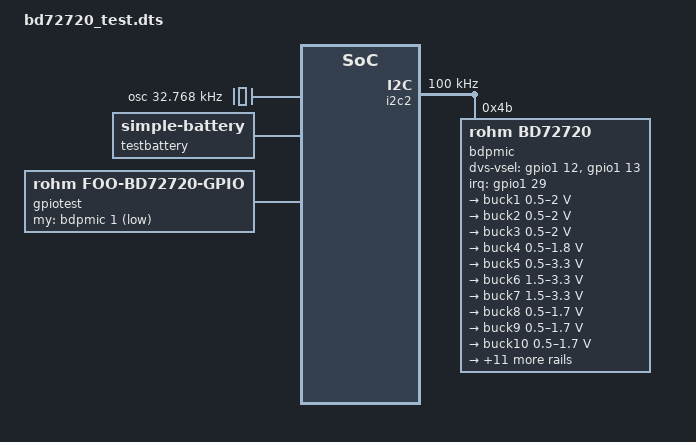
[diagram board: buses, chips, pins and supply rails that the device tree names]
/dts-v1/;
/plugin/;

/{ /* this is our device tree overlay root node */

	compatible = "ti,beaglebone", "ti,beaglebone-black";
	part-number = "BBB-I2C1"; // you can choose any name here but it should be memorable
 	version = "00A0";

	fragment@1 {
		target-path = "/";
		__overlay__ {
			/* external oscillator */
			osc: oscillator {
				compatible = "fixed-clock";
				#clock-cells = <1>;
				clock-frequency  = <32768>;
				clock-output-names = "osc";
			};

			testbattery: battery {
				compatible = "simple-battery";
				/* I just pulled these values from my hat :) */
				ocv-capacity-celsius = <25>;
				ocv-capacity-table-0 = <4200000 100
							4184314 100
							4140723 95
							4099487 90
							4060656 85
							4024350 80
							3991121 75
							3954379 70
							3913265 65
							3877821 60
							3855577 55
							3837466 50
							3822194 45
							3809012 40
							3795984 35
							3780647 30
							3760505 25
							3741532 20
							3718837 15
							3696698 10
							3690594 5
							3581427 0
							3110433 (-5)>;

				rohm,volt-drop-soc = <1000 1000 950 900 850
					800 750 700 650 600 550 500 450 400 350
					300 250 200 150 100 50 00 (-50)>;

				rohm,volt-drop-high-temp-microvolt =  <100 100
					102 104 106 109 114 124 117 107 107 109
					112 116 117 108 109 109 108 109 122 126
					130>;

				rohm,volt-drop-normal-temp-microvolt = <100 100
					102 105 98 100 105 102 101 99 98 100
					103 105 109 117 111 109 110 114 128 141
					154>;

				rohm,volt-drop-low-temp-microvolt = <100 100 98
					107 112 114 118 118 112 108 108 110 111
					113 117 123 131 144 157 181 220 283
					399>;

				rohm,volt-drop-very-low-temp-microvolt = <86 86
					105 109 114 110 115 115 110 108 110 112
					114 118 124 134 136 160 177 201 241 322
					403>;

				/* charge-full-design-microamp-hours = <3000000>; */
				charge-full-design-microamp-hours = <1799000>;
				voltage-max-design-microvolt = <4200000>;
				voltage-min-design-microvolt = <3500000>;
				rohm,voltage-vdr-thresh-microvolt = <4150000>;
				degrade-cycle-microamp-hours = <131>;
				/*
				degrade-cycle-microamp-hours <2>;
				temp-degrade-table = <
				*/
			};
		};
	};

	fragment@2 {
		target = <&i2c2>;

		__overlay__ {
			pinctrl-0 = <&i2c2_pins>;
			clock-frequency = <100000>;
			status = "okay";


			bdpmic: bd72720@4b {
				compatible = "rohm,bd72720";
				reg = <0x4b>;
				interrupt-parent = <&gpio1>;
//				/* GPIO 1_29 - (connector 8, pin 26) for irq */
/*				interrupts = <29 GPIO_ACTIVE_LOW>; */
				interrupts = <29 8>;
				clocks = <&osc 0>;
				#clock-cells = <0>;
				clock-output-names = "bd72720-32k-out";
				rohm,clkout-open-drain = <0>;
				#gpio-cells = <2>;
				gpio-controller;
				/* With default OTP the GPIO 1 is used for DVS0
				   input (not usable as GPO) and GPIO 3 is used
				   for DVS1 input. GPIO 2 can be used for GPO
				   and is by default connected to EPDEN. Let's
				   exclude GPIO 1 and 3 from use */
/*				ngpios = <4>; */
				rohm,pin-exten0 = "gpo";
				rohm,pin-dvs0 = "gpi";

/*				gpio-reserved-ranges = <0 1>, <2 1>; */
				rohm,dvs-vsel-gpios = <&gpio1 12 0>,
						      <&gpio1 13 0>;
				/* 30 milli Ohm RSENS resistor */ 
				rohm,charger-sense-resistor-milli-ohms = <30>;
				monitored-battery = <&testbattery>;

				regulators {
					buck1 {
						regulator-name = "buck1";

/*
 * Vol regs:
 * Deep Idle	0x22
 * IDLE		0x23
 * SUSP		0x24
 * RUN		0x25
 * RUN0 .. RUN3	0x36 .. 0x29
 *
 * vals:
 * 0x0 .. 0xc0 500mV + (sel * 6.25 mV)
 * 0xc1 .. 0xff 1.7 V
 */


						regulator-min-microvolt = <500000>;
						regulator-max-microvolt = <2000000>;
						/* Ramp reg 0x21, bit[7:6] val 0x2 */
						regulator-ramp-delay = <10000>;
						rohm,dvs-run-voltage = <500000>;
						rohm,dvs-idle-voltage = <506250>;
						/* Try disable at susp. reg 0x20, bit [2] cleared */
						rohm,dvs-suspend-voltage = <0>;
						rohm,dvs-lpsr-voltage = <1700000>;
						regulator-boot-on;
					};
					buck2 {
						/* vreg 0x2c ... 0x2f. RUN 0x2f, no sub run */
						regulator-name = "buck2";
						regulator-min-microvolt = <500000>;
						regulator-max-microvolt = <2000000>;
						/* Ramp reg 0x2b, bit[7:6] val 0x2 */
						regulator-ramp-delay = <10000>;
						rohm,dvs-run-voltage = <500000>;
						rohm,dvs-idle-voltage = <506250>;
						rohm,dvs-suspend-voltage = <1700000>;
						/* EN reg 0x2a, lpsr bit[0] */
						rohm,dvs-lpsr-voltage = <0>;
						regulator-boot-on;
					};
					buck3 {
						/* vreg 0x32 ... 0x35. RUN 0x35, no sub run */
						regulator-name = "buck3";
						regulator-min-microvolt = <500000>;
						regulator-max-microvolt = <2000000>;

						rohm,dvs-run-voltage = <1700000>;
						/* 0x30, bit [1] */
						rohm,dvs-idle-voltage = <0>;
						rohm,dvs-suspend-voltage = <512500>;
						rohm,dvs-lpsr-voltage = <518750>;
						regulator-boot-on;
					};
					buck4 {
						regulator-name = "buck4";
						regulator-min-microvolt = <500000>;
						regulator-max-microvolt = <1800000>;

						/* 0x3b */
						rohm,dvs-run-voltage = <500000>;
						/* 0x39 */
						rohm,dvs-idle-voltage = <1700000>;
						rohm,dvs-suspend-voltage = <512500>;
						/* 0x36, bit [0] */
						rohm,dvs-lpsr-voltage = <0>;
						regulator-boot-on;
					};
					buck5 {
						regulator-name = "buck5";
						regulator-min-microvolt = <500000>;
						regulator-max-microvolt = <3300000>;
						/* 0x3e */
						rohm,dvs-run-voltage = <500000>;
						rohm,dvs-idle-voltage = <1>;
						rohm,dvs-suspend-voltage = <1>;
						/* 0x3c, bit [0] */
						rohm,dvs-lpsr-voltage = <0>;
						regulator-boot-on;
					};
					buck6 {
						regulator-name = "buck6";
						regulator-min-microvolt = <1500000>;
						regulator-max-microvolt = <3300000>;
						regulator-ramp-delay = <10000>;
						/* 0x41 */
						/* vsel 0x00 .. 0xB4 1.5V + (sel * 10mV)
						        0xb5 .. 0xff 3.3 V
						*/
						rohm,dvs-run-voltage = <1500000>;
						rohm,dvs-idle-voltage = <1>;
						rohm,dvs-suspend-voltage = <1>;
						/* 0x3f, bit [0] */
						rohm,dvs-lpsr-voltage = <0>;
						/*
						rohm,dvs-runlevel-microvolts =
								<500000>,
								<506250>,
								<512500>,
								<518750>;
								*/
						regulator-boot-on;
					};
					buck7 {
						regulator-name = "buck7";
						regulator-min-microvolt = <1500000>;
						regulator-max-microvolt = <3300000>;
						regulator-ramp-delay = <2500>;
						/* 0x44 */
						/* vsel 0x00 .. 0xB4 1.5V + (sel * 10mV)
						        0xb5 .. 0xff 3.3 V
						*/
						rohm,dvs-run-voltage = <1500000>;
						rohm,dvs-idle-voltage = <1>;
						rohm,dvs-suspend-voltage = <1>;
						/* 0x42, bit [0] */
						rohm,dvs-lpsr-voltage = <0>;
						regulator-boot-on;
					};
					buck8 {
						regulator-name = "buck8";
						regulator-min-microvolt = <500000>;
						regulator-max-microvolt = <1700000>;
						regulator-ramp-delay = <2500>;
						/* 0x47 */
						/* vsel 0x00 .. 0x78 0.5V + (sel * 10mV)
						        0x79 .. 0xff 1.7 V
						*/
						rohm,dvs-run-voltage = <1700000>;
						rohm,dvs-idle-voltage = <1>;
						rohm,dvs-suspend-voltage = <1>;
						/* 0x45, bit [0] */
						rohm,dvs-lpsr-voltage = <0>;
						regulator-boot-on;
					};
					buck9 {
						regulator-name = "buck9";
						regulator-min-microvolt = <500000>;
						regulator-max-microvolt = <1700000>;
						regulator-ramp-delay = <2500>;
						/* 0x4a */
						/* vsel 0x00 .. 0x78 0.5V + (sel * 10mV)
						        0x79 .. 0xff 1.7 V
						*/
						rohm,dvs-run-voltage = <1700000>;
						rohm,dvs-idle-voltage = <1>;
						rohm,dvs-suspend-voltage = <1>;
						/* 0x4b, bit [0] */
						rohm,dvs-lpsr-voltage = <0>;
						regulator-boot-on;
					};
					buck10 {
						regulator-name = "buck10";
						regulator-min-microvolt = <500000>;
						regulator-max-microvolt = <1700000>;
						regulator-ramp-delay = <2500>;
						/*
						 * NOTE, when LDON_HEAD is set, the BUCK10 should not be
						 * controllable but supplies LDOs 1- 4 and follows LDO setting
						 * with configured offset.
						 */
						/* Uncomment to use LDON_HEAD mode, 150 millivolt offset: */
						/* LDON_HEAD is reg 0x50, bits[2:0] */
						/* rohm,ldon-head-mllivolt = 150; */
						 
						/* 0x4d */
						/* vsel 0x00 .. 0xc0 0.5V + (sel * 6.25mV)
						        0xc1 .. 0xff 1.7 V
						*/
						rohm,dvs-run-voltage = <1700000>;
						rohm,dvs-idle-voltage = <1>;
						rohm,dvs-suspend-voltage = <1>;
						/* 0x4b, bit [0] */
						rohm,dvs-lpsr-voltage = <0>;
						regulator-boot-on;
					};

					ldo1 {
						/* 0x00 to 0x50 = 0.5 V + (sel * 6.25 mV)
						  0x51 .. 0x7F 1.0 V */
						regulator-name = "ldo1";
						regulator-min-microvolt = <500000>;
						regulator-max-microvolt = <1000000>;
						/* ON reg: 0x4e */
						rohm,dvs-suspend-voltage = <0>;
						/* 0x51 */
						rohm,dvs-lpsr-voltage = <500000>;
						/* 0x52 */
						rohm,dvs-idle-voltage = <1000000>;
						/* LDO1 supports sub-run states */
						/* 0x55 .. 0x58 */
						rohm,dvs-runlevel-microvolts =
								<500000>,
								<506250>,
								<512500>,
								<518750>;
						regulator-boot-on;
					};
					ldo2 {
						/* 0x00 to 0x50 = 0.5 V + (sel * 6.25 mV)
						  0x51 .. 0x7F 1.0 V */
						regulator-name = "ldo2";
						regulator-min-microvolt = <500000>;
						regulator-max-microvolt = <1000000>;
						/* ON reg: 0x59, susb[2] */
						rohm,dvs-suspend-voltage = <0>;
						/* 0x5B */
						rohm,dvs-lpsr-voltage = <500000>;
						/* 0x5C */
						rohm,dvs-idle-voltage = <1000000>;
						/* 0x5E */
						rohm,dvs-run-voltage = <750000>;
					};
					ldo3 {
						/* 0x00 to 0x50 = 0.5 V + (sel * 6.25 mV)
						  0x51 .. 0x7F 1.0 V */
						regulator-name = "ldo3";
						regulator-min-microvolt = <500000>;
						regulator-max-microvolt = <1000000>;
						/* ON reg: 0x5f, susb[2] */
						rohm,dvs-suspend-voltage = <0>;
						/* 0x61 */
						rohm,dvs-lpsr-voltage = <500000>;
						/* 0x62 */
						rohm,dvs-idle-voltage = <1000000>;
						/* 0x64 */
						rohm,dvs-run-voltage = <750000>;
					};
					ldo4 {
						/* 0x00 to 0x50 = 0.5 V + (sel * 6.25 mV)
						  0x51 .. 0x7F 1.0 V */
						regulator-name = "ldo4";
						regulator-min-microvolt = <500000>;
						regulator-max-microvolt = <1000000>;
						/* ON reg: 0x65, susb[2] */
						rohm,dvs-suspend-voltage = <0>;
						/* 0x67 */
						rohm,dvs-lpsr-voltage = <500000>;
						/* 0x68 */
						rohm,dvs-idle-voltage = <1000000>;
						/* 0x6A */
						rohm,dvs-run-voltage = <750000>;
					};
					ldo5 {
						/* 0x00 to 0xff = 0.75 V + (sel * 10 mV) max 3.3 V */
						regulator-name = "ldo5";
						regulator-min-microvolt = <750000>;
						regulator-max-microvolt = <3300000>;
						/* ON reg: 0x6B, susb[2] */
						rohm,dvs-suspend-voltage = <0>;
						/* ON reg: 0x6B, lpsr (deep idle) [0] */
						rohm,dvs-lpsr-voltage = <1>;
						/* VID reg 0x6D */
						rohm,dvs-run-voltage = <750000>;
						regulator-boot-on;
					};
					ldo6 {
						/* 0x00 to 0x78 = 0.6 V + (sel * 10 mV) max 1.8 V
						   0x79 .. 0x7f 1.8 V */
						regulator-name = "ldo6";
						regulator-min-microvolt = <600000>;
						regulator-max-microvolt = <1800000>;
						/* ON reg: 0x6E, susb[2] */
						rohm,dvs-suspend-voltage = <0>;
						/* ON reg: 0x6E, lpsr (deep idle) [0] */
						rohm,dvs-lpsr-voltage = <1>;
						/* VID reg 0x70 */
						rohm,dvs-run-voltage = <750000>;
					};
					ldo7_reg: ldo7 {
						/* 0x00 to 0xff = 0.75 V + (sel * 10 mV) max 3.3 V */
						regulator-name = "ldo7";
						regulator-min-microvolt = <750000>;
						regulator-max-microvolt = <3300000>;
						/* ON reg: 0x71, susb[2] */
						rohm,dvs-suspend-voltage = <0>;
						/* ON reg: 0x71, lpsr (deep idle) [0] */
						rohm,dvs-lpsr-voltage = <1>;
						/* VID reg 0x73 */
						rohm,dvs-run-voltage = <750000>;
					};
					ldo8_reg: ldo8 {
						/* 0x00 to 0xff = 0.75 V + (sel * 10 mV) max 3.3 V */
						regulator-name = "ldo8";
						regulator-min-microvolt = <750000>;
						regulator-max-microvolt = <3300000>;
						/* ON reg: 0x74, susb[2] */
						rohm,dvs-suspend-voltage = <0>;
						/* ON reg: 0x74, lpsr (deep idle) [0] */
						rohm,dvs-lpsr-voltage = <1>;
						/* VID reg 0x76 */
						rohm,dvs-run-voltage = <750000>;
					};
					ldo9_reg: ldo9 {
						/* 0x00 to 0xff = 0.75 V + (sel * 10 mV) max 3.3 V */
						regulator-name = "ldo9";
						regulator-min-microvolt = <750000>;
						regulator-max-microvolt = <3300000>;
						/* ON reg: 0x77, susb[2] */
						rohm,dvs-suspend-voltage = <0>;
						/* ON reg: 0x77, lpsr (deep idle) [0] */
						rohm,dvs-lpsr-voltage = <1>;
						/* VID reg 0x79 */
						rohm,dvs-run-voltage = <750000>;
					};
					ldo10_reg: ldo10 {
						/* 0x00 to 0xff = 0.75 V + (sel * 10 mV) max 3.3 V */
						regulator-name = "ldo10";
						regulator-min-microvolt = <750000>;
						regulator-max-microvolt = <3300000>;
						/* ON reg: 0x7a, susb[2] */
						rohm,dvs-suspend-voltage = <0>;
						/* ON reg: 0x7a, lpsr (deep idle) [0] */
						rohm,dvs-lpsr-voltage = <1>;
						/* VID reg 0x7c */
						rohm,dvs-run-voltage = <750000>;
					};
					ldo11_reg: ldo11 {
						/* 0x00 to 0xff = 0.75 V + (sel * 10 mV) max 3.3 V */
						regulator-name = "ldo11";
						regulator-min-microvolt = <750000>;
						regulator-max-microvolt = <3300000>;
						/* ON reg: 0x7d, susb[2] */
						rohm,dvs-suspend-voltage = <0>;
						/* ON reg: 0x7d, lpsr (deep idle) [0] */
						rohm,dvs-lpsr-voltage = <1>;
						/* VID reg 0x7f */
						rohm,dvs-run-voltage = <750000>;
					};
				};
				leds {
					compatible = "rohm,bd72720-leds";
					led-1 {
						rohm,led-compatible = "bd72720-grnled";
						function = "indicator";
						color = <2>;
					};
					led-2 {
						rohm,led-compatible = "bd72720-ambled";
						function = "charging";
						color = <4>;
					};
				};
			};
		};
	};

	fragment@3 {
		target-path = "/";
		__overlay__ {
			clktest: dummy {
				compatible = "rohm,clktest-bd72720";
				clocks = <&bdpmic>;
				clock-names = "foo-in";
			};
			gpiotest: gpouser {
				compatible = "rohm,foo-bd72720-gpio";
				my-gpios = <&bdpmic 1 1>;
			};
		};
	};
}; /* root node end */
